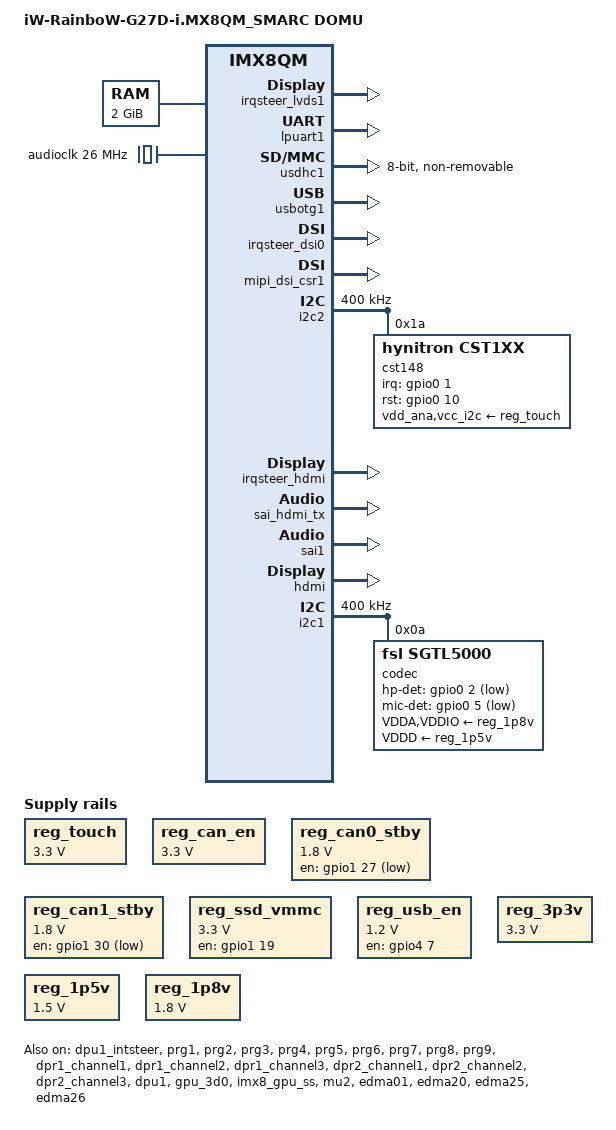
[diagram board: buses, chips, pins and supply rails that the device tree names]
/*
 * Copyright 2018 NXP
 *
 * This program is free software; you can redistribute it and/or
 * modify it under the terms of the GNU General Public License
 * as published by the Free Software Foundation; either version 2
 * of the License, or (at your option) any later version.
 *
 * This program is distributed in the hope that it will be useful,
 * but WITHOUT ANY WARRANTY; without even the implied warranty of
 * MERCHANTABILITY or FITNESS FOR A PARTICULAR PURPOSE.  See the
 * GNU General Public License for more details.
 */

/dts-v1/;
#include <dt-bindings/interrupt-controller/arm-gic.h>
#include <dt-bindings/clock/imx8qm-clock.h>
#include <dt-bindings/input/input.h>
#include <dt-bindings/soc/imx_rsrc.h>
#include <dt-bindings/soc/imx8_hsio.h>
#include <dt-bindings/soc/imx8_pd.h>
#include <dt-bindings/pinctrl/pads-imx8qm.h>
#include <dt-bindings/gpio/gpio.h>
#include <dt-bindings/thermal/thermal.h>

/ {
	model = "iW-RainboW-G27D-i.MX8QM_SMARC DOMU";
	compatible = "fsl,imx8qm-iwg27m", "fsl,imx8qm", "xen,xenvm-4.10", "xen,xenvm";
	interrupt-parent = <&gic>;
	#address-cells = <0x2>;
	#size-cells = <0x2>;

	/delete-node/ aliases;

	aliases {
		mmc0 = &usdhc1;
		dpu0 = &dpu1;
		dpu1 = &dpu2;
		dsi_phy0 = &mipi_dsi_phy1;
		mipi_dsi0 = &mipi_dsi1;
		ldb0 = &ldb1;
		ldb1 = &ldb2;
		serial1 = &lpuart1;
	};

	cpus {
		#address-cells = <0x2>;
		#size-cells = <0x0>;

		cpu@0 {
			device_type = "cpu";
			compatible = "arm,armv8";
			enable-method = "psci";
			reg = <0x0 0x0>;
		};

		cpu@1 {
			device_type = "cpu";
			compatible = "arm,armv8";
			enable-method = "psci";
			reg = <0x0 0x1>;
		};
                cpu@2 {
                        device_type = "cpu";
                        compatible = "arm,armv8";
                        enable-method = "psci";
                        reg = <0x0 0x2>;
                };

                cpu@3 {
                        device_type = "cpu";
                        compatible = "arm,armv8";
                        enable-method = "psci";
                        reg = <0x0 0x3>;
                };
	};
/*
        clocks {
                #address-cells = <1>;
                #size-cells = <0>;
        audioclk: ext26Mz {
                compatible = "fixed-clock";
                clock-frequency = <26000000>;
                reg=<0>;
                #clock-cells = <0>;
                };
        };

        regulators {
                compatible = "simple-bus";
                #address-cells = <1>;
                #size-cells = <0>;

                reg_touch: regulator@0 {
                        compatible = "regulator-fixed";
                        reg = <2>;
                        regulator-name = "touch-en";
                        regulator-min-microvolt = <3300000>;
                        regulator-max-microvolt = <3300000>;
                        regulator-always-on;
                };

                reg_can_en: regulator-can-en {
                        compatible = "regulator-fixed";
                        regulator-name = "can-en";
                        regulator-min-microvolt = <3300000>;
                        regulator-max-microvolt = <3300000>;
                        enable-active-high;
                };

                reg_can0_stby: regulator-can-stby0 {
                        compatible = "regulator-fixed";
                        regulator-name = "can-stby0";
                        regulator-min-microvolt = <1800000>;
                        regulator-max-microvolt = <1800000>;
                        gpio = <&gpio1 27 GPIO_ACTIVE_LOW>;
                };

                reg_can1_stby: regulator-can-stby1 {
                        compatible = "regulator-fixed";
                        regulator-name = "can-stby1";
                        regulator-min-microvolt = <1800000>;
                        regulator-max-microvolt = <1800000>;
                        gpio = <&gpio1 30 GPIO_ACTIVE_LOW>;
                };

                reg_ssd_vmmc: regulator-ssd-vmmc {
                        compatible = "regulator-fixed";
                        regulator-name = "ssd_vmmc";
                        regulator-min-microvolt = <3300000>;
                        regulator-max-microvolt = <3300000>;
                        gpio = <&gpio1 19 GPIO_ACTIVE_HIGH>;
                        enable-active-high;
                };

                reg_usb_en: regulator-usb-en {
                        compatible = "regulator-fixed";
                        regulator-name = "usb_en";
                        regulator-min-microvolt = <1200000>;
                        regulator-max-microvolt = <1200000>;
                        regulator-type = "voltage";
                        gpio = <&gpio4 7 GPIO_ACTIVE_HIGH>;
                        enable-active-high;
                };

                reg_3p3v: 3p3v {
                        compatible = "regulator-fixed";
                        regulator-name = "3P3V";
                        regulator-min-microvolt = <3300000>;
                        regulator-max-microvolt = <3300000>;
                        regulator-always-on;
                        regulator-boot-on;
                };

                reg_1p5v: 1p5v {
                        compatible = "regulator-fixed";
                        regulator-name = "1P5V";
                        regulator-min-microvolt = <1500000>;
                        regulator-max-microvolt = <1500000>;
                        regulator-always-on;
                };

                reg_1p8v: 1p8v {
                        compatible = "regulator-fixed";
                        regulator-name = "1P8V";
                        regulator-min-microvolt = <1800000>;
                        regulator-max-microvolt = <1800000>;
                        regulator-always-on;
                };

	};
*/
	psci {
		compatible = "arm,psci-1.0";
		method = "hvc";
	};

	memory@80000000 {
		device_type = "memory";
		/* Will be updated by U-Boot or XEN TOOL */
		reg = <0x00000000 0x80000000 0 0x80000000>;
	};

	/*
	 * The reserved memory will be used when using U-Boot loading android
	 * image. For booting kernel using xl tool, pass args:
	 * cma=960M@2400M-3584M
	 * For the rpmsg_reserved area, need xl tool to create for non-android.
	 */
	reserved-memory {
		#address-cells = <2>;
		#size-cells = <2>;
		ranges;
		passthrough;

		/*
		 * reserved-memory layout
		 * 0x8800_0000 ~ 0x8FFF_FFFF is reserved for M4
		 * Shouldn't be used at A core and Linux side.
		 *
		 */

		rpmsg_reserved: rpmsg@0x90100000 {
			no-map;
			reg = <0 0x90100000 0 0x10000>;
		};

		/* global autoconfigured region for contiguous allocations */
		linux,cma {
			compatible = "shared-dma-pool";
			reusable;
			size = <0 0x3c000000>;
			alloc-ranges = <0 0x96000000 0 0x3c000000>;
			linux,cma-default;
		};
	};

	gic: interrupt-controller@3001000 {
		compatible = "arm,gic-v3";
		#interrupt-cells = <3>;
		#address-cells = <0x0>;
		interrupt-controller;
		redistributor-stride = <0x20000>;
		#redistributor-regions = <0x1>;
		reg = <0x0 0x3001000 0 0x10000>, /* GIC Dist */
		      <0x0 0x3020000 0 0x1000000>; /* GICR */
		interrupts = <GIC_PPI 9 (GIC_CPU_MASK_SIMPLE(6) | IRQ_TYPE_LEVEL_HIGH)>;
		interrupt-parent = <&gic>;
		linux,phandle = <0xfde8>;
		phandle = <0xfde8>;
	};

	timer {
		compatible = "arm,armv8-timer";
		interrupts = <GIC_PPI 13 (GIC_CPU_MASK_SIMPLE(6) | IRQ_TYPE_LEVEL_LOW)>,
			     <GIC_PPI 14 (GIC_CPU_MASK_SIMPLE(6) | IRQ_TYPE_LEVEL_LOW)>,
			     <GIC_PPI 11 (GIC_CPU_MASK_SIMPLE(6) | IRQ_TYPE_LEVEL_LOW)>;
		interrupt-parent = <&gic>;
		clock-frequency = <8000000>;
	};
/*
        sound {
                compatible = "fsl,imx-audio-sgtl5000";
                model = "sgtl5000-audio";
                ssi-controller = <&sai1>;
                audio-codec = <&codec>;
                audio-routing = "MIC_IN", "Mic Jack",
                                "Mic Jack", "Mic Bias",
                                "Headphone Jack", "HP_OUT",
                                "LINE_IN", "Line In Jack";
        };

        sound-hdmi {
                compatible = "fsl,imx-audio-cdnhdmi";
                model = "imx-audio-hdmi";
                audio-cpu = <&sai_hdmi_tx>;
                constraint-rate = <48000>;
                protocol = <1>;
                status = "disabled";
        };
*/
	hypervisor {
		compatible = "xen,xen-4.11", "xen,xen";
		reg = <0x0 0x38000000 0x0 0x1000000>;
		interrupts = <GIC_PPI 15 (GIC_CPU_MASK_SIMPLE(6) | IRQ_TYPE_LEVEL_LOW)>;
		interrupt-parent = <&gic>;
	};

	passthrough {
		compatible = "simple-bus";
		ranges;
		#address-cells = <2>;
		#size-cells = <2>;

		clocks {
                	#address-cells = <1>;
                	#size-cells = <0>;
		        audioclk: ext26Mz {
                		compatible = "fixed-clock";
        	        	clock-frequency = <26000000>;
		                reg=<0>;
        	        	#clock-cells = <0>;
        	        };
	        };

	        regulators {
	                compatible = "simple-bus";
                	#address-cells = <1>;
        	        #size-cells = <0>;

	                reg_touch: regulator@0 {
                        	compatible = "regulator-fixed";
                	        reg = <2>;
        	                regulator-name = "touch-en";
	                        regulator-min-microvolt = <3300000>;
                        	regulator-max-microvolt = <3300000>;
                	        regulator-always-on;
        	        };

	                reg_can_en: regulator-can-en {
                	        compatible = "regulator-fixed";
        	                regulator-name = "can-en";
	                        regulator-min-microvolt = <3300000>;
                        	regulator-max-microvolt = <3300000>;
                	        enable-active-high;
        	        };

	                reg_can0_stby: regulator-can-stby0 {
                	        compatible = "regulator-fixed";
        	                regulator-name = "can-stby0";
	                        regulator-min-microvolt = <1800000>;
                        	regulator-max-microvolt = <1800000>;
                	        gpio = <&gpio1 27 GPIO_ACTIVE_LOW>;
        	        };

	                reg_can1_stby: regulator-can-stby1 {
                        	compatible = "regulator-fixed";
                	        regulator-name = "can-stby1";
        	                regulator-min-microvolt = <1800000>;
	                        regulator-max-microvolt = <1800000>;
                        	gpio = <&gpio1 30 GPIO_ACTIVE_LOW>;
                	};

        	        reg_ssd_vmmc: regulator-ssd-vmmc {
	                        compatible = "regulator-fixed";
                        	regulator-name = "ssd_vmmc";
                	        regulator-min-microvolt = <3300000>;
        	                regulator-max-microvolt = <3300000>;
	                        gpio = <&gpio1 19 GPIO_ACTIVE_HIGH>;
                        	enable-active-high;
                	};

        	        reg_usb_en: regulator-usb-en {
	                        compatible = "regulator-fixed";
                        	regulator-name = "usb_en";
                	        regulator-min-microvolt = <1200000>;
        	                regulator-max-microvolt = <1200000>;
	                        regulator-type = "voltage";
                        	gpio = <&gpio4 7 GPIO_ACTIVE_HIGH>;
                	        enable-active-high;
        	        };
	                reg_3p3v: 3p3v {
                        	compatible = "regulator-fixed";
                	        regulator-name = "3P3V";
        	                regulator-min-microvolt = <3300000>;
	                        regulator-max-microvolt = <3300000>;
                        	regulator-always-on;
                	        regulator-boot-on;
        	        };

	                reg_1p5v: 1p5v {
                	        compatible = "regulator-fixed";
        	                regulator-name = "1P5V";
	                        regulator-min-microvolt = <1500000>;
                        	regulator-max-microvolt = <1500000>;
                	        regulator-always-on;
        	        };

	                reg_1p8v: 1p8v {
                	        compatible = "regulator-fixed";
        	                regulator-name = "1P8V";
	                        regulator-min-microvolt = <1800000>;
                        	regulator-max-microvolt = <1800000>;
                	        regulator-always-on;
        	        };

	        };


		firmware {
			android {
				compatible = "android,firmware";
				fstab {
					compatible = "android,fstab";
					vendor {
						compatible = "android,vendor";
						/* emmc node which used if androidboot.storage_type=emmc */
						dev_emmc = "/dev/block/platform/passthrough/15b010000.usdhc/by-name/vendor";
						type = "ext4";
						mnt_flags = "ro,barrier=1,inode_readahead_blks=8";
						fsmgr_flags = "wait,slotselect,avb";
					};
				};

				vbmeta {
					/*we need use FirstStageMountVBootV2 if we enable avb*/
					compatible = "android,vbmeta";
					/*parts means the partition witch can be mount in first stage*/
					parts = "vbmeta,boot,system,vendor";
				};
			};
		};

		clk: clk {
			compatible = "fsl,imx8qm-clk";
			#clock-cells = <1>;
			fsl,lpcg_base_offset = <0x00000000 0x00000000>;
		};

		iomuxc: iomuxc {
			compatible = "fsl,imx8qm-iomuxc";
		};

		#include "fsl-imx8qm-device.dtsi"

		mu2: mu@5d1d0000 {
			compatible = "fsl,imx8-mu";
			reg = <0x0 0x5d1d0000 0x0 0x10000>;
			interrupts = <GIC_SPI 178 IRQ_TYPE_LEVEL_HIGH>;
			fsl,scu_ap_mu_id = <0>;
			status = "okay";
		};

		usb_lpcg {
			reg = <0x0 0x5b270000 0x0 0x10000>;
		};

		edma01: dma-controller1@5a2e0000 {
			compatible = "fsl,imx8qm-edma";
			reg = <0x0 0x5a2e0000 0x0 0x10000>, /* channel14 UART1 rx */
			      <0x0 0x5a2f0000 0x0 0x10000>; /* channel15 UART1 tx */
			#dma-cells = <3>;
			dma-channels = <2>;
			interrupts = <GIC_SPI 436 IRQ_TYPE_LEVEL_HIGH>,
				     <GIC_SPI 437 IRQ_TYPE_LEVEL_HIGH>;
			interrupt-names = "edma0-chan14-rx", "edma0-chan15-tx";
			status = "okay";
		};

                edma20: dma-controller@591f0000 {
                        compatible = "fsl,imx8qm-adma";
                        reg = <0x0 0x59200000 0x0 0x10000>, /* asrc0 */
                                <0x0 0x59210000 0x0 0x10000>,
                                <0x0 0x59220000 0x0 0x10000>,
                                <0x0 0x59230000 0x0 0x10000>,
                                <0x0 0x59240000 0x0 0x10000>,
                                <0x0 0x59250000 0x0 0x10000>;
                        #dma-cells = <3>;
                        shared-interrupt;
                        dma-channels = <6>;
                        interrupts = <GIC_SPI 374 IRQ_TYPE_LEVEL_HIGH>, /* asrc0 */
                                        <GIC_SPI 375 IRQ_TYPE_LEVEL_HIGH>,
                                        <GIC_SPI 376 IRQ_TYPE_LEVEL_HIGH>,
                                        <GIC_SPI 377 IRQ_TYPE_LEVEL_HIGH>,
                                        <GIC_SPI 378 IRQ_TYPE_LEVEL_HIGH>,
                                        <GIC_SPI 379 IRQ_TYPE_LEVEL_HIGH>;
                        interrupt-names = "edma2-chan0-rx", "edma2-chan1-rx", /* asrc0 */
                                        "edma2-chan2-rx", "edma2-chan3-tx",
                                        "edma2-chan4-tx", "edma2-chan5-tx";
                        status = "okay";
                };

                edma25: dma-controller@0x592e0000 {
                        compatible = "fsl,imx8qm-adma";
                        reg = <0x0 0x592e0000 0x0 0x10000>, /* sai1 rx */
                        <0x0 0x592f0000 0x0 0x10000>; /* sai1 tx */
                        #dma-cells = <3>;
                        shared-interrupt;
                        dma-channels = <2>;
                        interrupts = <GIC_SPI 317 IRQ_TYPE_LEVEL_HIGH>, /* sai1 */
                                     <GIC_SPI 317 IRQ_TYPE_LEVEL_HIGH>;
                        interrupt-names = "edma2-chan14-rx", "edma2-chan15-tx"; /* sai1 */
                        fsl,sc_rsrc_id = <SC_R_DMA_2_CH14>,
                                         <SC_R_DMA_2_CH15>;
                        status = "okay";
                };

	        edma26: dma-controller@0x59320000 {
                	compatible = "fsl,imx8qm-adma";
        	        reg = <0x0 0x59320000 0x0 0x10000>, /* sai4 rx */
	                      <0x0 0x59330000 0x0 0x10000>; /* sai5 tx */
                	#dma-cells = <3>;
        	        shared-interrupt;
	                dma-channels = <2>;
                	interrupts = <GIC_SPI 326 IRQ_TYPE_LEVEL_HIGH>, /* sai4 */
        	                     <GIC_SPI 328 IRQ_TYPE_LEVEL_HIGH>; /* sai5 */
	                interrupt-names = "edma2-chan18-rx", "edma2-chan19-tx"; /* sai1 */
                	fsl,sc_rsrc_id = <SC_R_DMA_2_CH18>,
                        	         <SC_R_DMA_2_CH19>;
        	        status = "okay";
	        };

		sound {
        	        compatible = "fsl,imx-audio-sgtl5000";
	                model = "sgtl5000-audio";
                	ssi-controller = <&sai1>;
        	        audio-codec = <&codec>;
	                audio-routing = "MIC_IN", "Mic Jack",
                        	        "Mic Jack", "Mic Bias",
                	                "Headphone Jack", "HP_OUT",
        	                        "LINE_IN", "Line In Jack";
	        };

        	sound-hdmi {
	                compatible = "fsl,imx-audio-cdnhdmi";
                	model = "imx-audio-hdmi";
        	        audio-cpu = <&sai_hdmi_tx>;
	                constraint-rate = <48000>;
                	protocol = <1>;
        	        status = "disabled";
	        };


	};
};

/delete-node/ &tsens;
/delete-node/ &thermal_zones;
/delete-node/ &rtc;

&display {
	ports = <&dpu1_disp0>, <&dpu1_disp1>;
};

&dpu1_intsteer {
        reg = <0x0 0x56000000 0x0 0x10000>;
        status = "okay";
};

&prg1 {
        reg = <0x0 0x56040000 0x0 0x10000>;
        status = "okay";
};

&prg2 {
        reg = <0x0 0x56050000 0x0 0x10000>;
        status = "okay";
};

&prg3 {
        reg = <0x0 0x56060000 0x0 0x10000>;
        status = "okay";
};

&prg4 {
        reg = <0x0 0x56070000 0x0 0x10000>;
        status = "okay";
};

&prg5 {
        reg = <0x0 0x56080000 0x0 0x10000>;
        status = "okay";
};

&prg6 {
        reg = <0x0 0x56090000 0x0 0x10000>;
        status = "okay";
};

&prg7 {
        reg = <0x0 0x560a0000 0x0 0x10000>;
        status = "okay";
};

&prg8 {
        reg = <0x0 0x560b0000 0x0 0x10000>;
        status = "okay";
};

&prg9 {
        reg = <0x0 0x560c0000 0x0 0x10000>;
        status = "okay";
};

&dpr1_channel1 {
        reg = <0x0 0x560d0000 0x0 0x10000>;
        status = "okay";
};

&dpr1_channel2 {
        reg = <0x0 0x560e0000 0x0 0x10000>;
        status = "okay";
};

&dpr1_channel3 {
        reg = <0x0 0x560f0000 0x0 0x10000>;
        status = "okay";
};

&dpr2_channel1 {
        reg = <0x0 0x56100000 0x0 0x10000>;
        status = "okay";
};

&dpr2_channel2 {
        reg = <0x0 0x56110000 0x0 0x10000>;
        status = "okay";
};

&dpr2_channel3 {
        reg = <0x0 0x56120000 0x0 0x10000>;
        status = "okay";
};

&dpu1 {
        reg = <0x0 0x56180000 0x0 0x40000>;
        status = "okay";

        dpu1_disp0: port@0 {
		reg = <0>;

		dpu1_disp0_hdmi: hdmi-endpoint {
			remote-endpoint = <&hdmi_disp>;
		};

		dpu1_disp0_mipi_dsi: mipi-dsi-endpoint {
			remote-endpoint = <&mipi_dsi1_in>;
		};
        };
        dpu1_disp1: port@1 {
                reg = <1>;

                dpu1_disp1_lvds0: lvds0-endpoint {
                        remote-endpoint = <&ldb1_lvds0>;
                };

                dpu1_disp1_lvds1: lvds1-endpoint {
                        remote-endpoint = <&ldb1_lvds1>;
                };
        };
};

&dpu2_intsteer {
	reg = <0x0 0x57000000 0x0 0x10000>;
	status = "disabled";
};

&prg10 {
	reg = <0x0 0x57040000 0x0 0x10000>;
	status = "disabled";
};

&prg11 {
	reg = <0x0 0x57050000 0x0 0x10000>;
	status = "disabled";
};

&prg12 {
	reg = <0x0 0x57060000 0x0 0x10000>;
	status = "disabled";
};

&prg13 {
	reg = <0x0 0x57070000 0x0 0x10000>;
	status = "disabled";
};

&prg14 {
	reg = <0x0 0x57080000 0x0 0x10000>;
	status = "disabled";
};

&prg15 {
	reg = <0x0 0x57090000 0x0 0x10000>;
	status = "disabled";
};

&prg16 {
	reg = <0x0 0x570a0000 0x0 0x10000>;
	status = "disabled";
};

&prg17 {
	reg = <0x0 0x570b0000 0x0 0x10000>;
	status = "disabled";
};

&prg18 {
	reg = <0x0 0x570c0000 0x0 0x10000>;
	status = "disabled";
};

&dpr3_channel1 {
	reg = <0x0 0x570d0000 0x0 0x10000>;
	status = "disabled";
};

&dpr3_channel2 {
	reg = <0x0 0x570e0000 0x0 0x10000>;
	status = "disabled";
};

&dpr3_channel3 {
	reg = <0x0 0x570f0000 0x0 0x10000>;
	status = "disabled";
};

&dpr4_channel1 {
	reg = <0x0 0x57100000 0x0 0x10000>;
	status = "disabled";
};

&dpr4_channel2 {
	reg = <0x0 0x57110000 0x0 0x10000>;
	status = "disabled";
};

&dpr4_channel3 {
	reg = <0x0 0x57120000 0x0 0x10000>;
	status = "disabled";
};

&dpu2 {
	reg = <0x0 0x57180000 0x0 0x40000>;
	status = "disabled";

	dpu2_disp0: port@0 {
		dpu2_disp0_mipi_dsi: mipi-dsi-endpoint {
			/delete-property/ remote-endpoint;
		};
	};
	dpu2_disp1: port@1 {
		reg = <1>;

		dpu2_disp1_lvds0: lvds0-endpoint {
			remote-endpoint = <&ldb2_lvds0>;
		};

		dpu2_disp1_lvds1: lvds1-endpoint {
			remote-endpoint = <&ldb2_lvds1>;
		};
	};
};

/*
/delete-node/ &irqsteer_dsi0;
/delete-node/ &i2c0_mipi_dsi0;
*/

&lvds_region1 {
        reg = <0x0 0x56240000 0x0 0x10000>;
        status = "disabled";
};

&ldb1_phy {
        reg = <0x0 0x56241000 0x0 0x100>;
        status = "disabled";
};

&ldb1 {
        status = "disabled";

        lvds-channel@0 {
                fsl,data-mapping = "jeida";
                fsl,data-width = <24>;
                status = "okay";

                port@1 {
                        reg = <1>;

                        lvds1_out: endpoint {
                                remote-endpoint = <&it6263_1_in>;
                        };
                };
        };
};

&lvds_region2 {
	reg = <0x0 0x57240000 0x0 0x10000>;
	status = "disabled";
};

&ldb2_phy {
	reg = <0x0 0x57241000 0x0 0x100>;
	status = "disabled";
};

&ldb2 {
	status = "disabled";

	lvds-channel@0 {
		fsl,data-mapping = "jeida";
		fsl,data-width = <24>;
		status = "okay";

		port@1 {
			reg = <1>;

			lvds2_out: endpoint {
				remote-endpoint = <&it6263_1_in>;
			};
		};
	};
};

/*
/delete-node/ &lvds0_pwm;
/delete-node/ &dpu1_intsteer;
/delete-node/ &prg1;
/delete-node/ &prg2;
/delete-node/ &prg3;
/delete-node/ &prg4;
/delete-node/ &prg5;
/delete-node/ &prg6;
/delete-node/ &prg7;
/delete-node/ &prg8;
/delete-node/ &prg9;
/delete-node/ &dpr1_channel1;
/delete-node/ &dpr1_channel2;
/delete-node/ &dpr1_channel3;
/delete-node/ &dpr2_channel1;
/delete-node/ &dpr2_channel2;
/delete-node/ &dpr2_channel3;
/delete-node/ &dpu1;
*/

/delete-node/ &irqsteer_dsi1;
/delete-node/ &i2c0_mipi_dsi1;
/delete-node/ &mipi_dsi_csr2;
/delete-node/ &mipi_dsi_phy2;
/delete-node/ &mipi_dsi2;
/delete-node/ &mipi_dsi_bridge2;
/* /delete-node/ &lvds_region1;
/delete-node/ &lvds1_pwm;
*/

/delete-node/ &camera;
/delete-node/ &i2c0;
/delete-node/ &i2c3;
/delete-node/ &i2c4;
/delete-node/ &i2c0_cm40;
/delete-node/ &i2c0_cm41;
/delete-node/ &i2c0_hdmi;

&irqsteer_lvds1 {
	reg = <0x0 0x57240000 0x0 0x1000>;
	/delete-property/ interrupt-parent;
	status = "okay";
};

/delete-node/ &flexcan1;
/delete-node/ &flexcan2;
/delete-node/ &flexcan3;

&i2c1_lvds1 {
	reg = <0x0 0x57247000 0x0 0x1000>;
	status = "disabled";
};

/delete-node/ &irqsteer_lvds0;
/delete-node/ &i2c1_lvds0;
/delete-node/ &irqsteer_csi0;
/delete-node/ &i2c0_mipi_csi0;
/delete-node/ &irqsteer_csi1;
/delete-node/ &i2c0_mipi_csi1;
/delete-node/ &lpspi0;
/delete-node/ &lpuart0;

&lpuart1 {
	/delete-property/ interrupt-parent;
	reg = <0x0 0x5a070000 0 0x1000>;
	dmas = <&edma01 15 0 0>, <&edma01 14 0 1>;
	pinctrl-names = "default";
	pinctrl-0 = <&pinctrl_lpuart1>;
	status = "okay";
};

/delete-node/ &lpuart2;
/delete-node/ &lpuart3;
/delete-node/ &lpuart4;
/delete-node/ &edma0;
/delete-node/ &edma2;
/delete-node/ &edma3;

&gpio0 {
	/delete-property/ power-domains;
	status = "okay";
};
&gpio1 {
	/delete-property/ power-domains;
	status = "okay";
};
&gpio2 {
	/delete-property/ power-domains;
	status = "disabled";
};
&gpio3 {
	/delete-property/ power-domains;
	status = "disabled";
};
&gpio4 {
	/delete-property/ power-domains;
	status = "okay";
};
&gpio5 {
	/delete-property/ power-domains;
	status = "disabled";
};
&gpio6 {
	/delete-property/ power-domains;
	status = "disabled";
};
&gpio7 {
	/delete-property/ power-domains;
	status = "disabled";
};

/delete-node/ &gpio0_mipi_csi0;
/delete-node/ &gpio0_mipi_csi1;
/delete-node/ &gpt0;
/delete-node/ &pwm0;
/delete-node/ &pwm1;
/delete-node/ &pwm2;
/delete-node/ &pwm3;
/delete-node/ &pwm4;
/delete-node/ &pwm5;
/delete-node/ &pwm6;
/delete-node/ &pwm7;

&gpu_3d0 {
	reg = <0x0 0x53100000 0 0x40000>;
	status = "okay";
};

/delete-node/ &gpu_3d1;

&imx8_gpu_ss {
	/* xen guests have 2GB of low RAM @ 2GB */
	reg = <0x0 0x80000000 0x0 0x80000000>;
	reg-names = "phys_baseaddr";
	cores = <&gpu_3d0>;
	status = "okay";
};

/delete-node/ &mlb;

&usdhc1 {
	compatible = "fsl,imx8qm-usdhc", "fsl,imx6sl-usdhc";
	/*interrupt-parent = <&gic>;*/
	/delete-property/ interrupt-parent;
	reg = <0x0 0x5b010000 0x0 0x10000>;
};

/delete-node/ &usdhc2;
/delete-node/ &usdhc3;
/delete-node/ &fec1;
/delete-node/ &fec2;

&usbmisc1 {
	reg = <0x0 0x5b0d0200 0x0 0x200>;
};

/delete-node/ &usbmisc2;

&usbphy1 {
	reg = <0x0 0x5b100000 0x0 0x200>;
};

/delete-node/ &usbh1;
/delete-node/ &usbotg3;
/delete-node/ &usbphynop1;
/delete-node/ &usbphynop2;

&usbotg1 {
	reg = <0x0 0x5b0d0000 0x0 0x200>;
	/delete-property/ interrupt-parent;
};

/delete-node/ &ddr_pmu0;
/delete-node/ &ddr_pmu1;
/delete-node/ &vpu;
/delete-node/ &acm;
/delete-node/ &esai0;
/delete-node/ &spdif0;
/delete-node/ &sai0;
/delete-node/ &sai_hdmi_rx;
/delete-node/ &sai6;
/delete-node/ &sai7;
/delete-node/ &amix;
/delete-node/ &asrc0;
/delete-node/ &asrc1;
/delete-node/ &mqs;
/delete-node/ &flexspi0;

&dma_cap {
	compatible = "dma-capability";
	only-dma-mask32 = <1>;
};

/delete-node/ &hsio;
/delete-node/ &ocotp;
/delete-node/ &pciea;
/delete-node/ &pcieb;
/delete-node/ &sata;
/*
/delete-node/ &intmux_cm40;
/delete-node/ &intmux_cm41;
*/
&rpmsg1{
	/*
	 * 64K for one rpmsg instance:
	 */
	vdev-nums = <1>;
	reg = <0x0 0x90100000 0x0 0x10000>;
	status = "disabled";
};

&mu_rpmsg1 {
	reg = <0x0 0x5d210000 0x0 0x10000>;
};

/delete-node/ &crypto;
/delete-node/ &caam_sm;
/delete-node/ &sc_pwrkey;
/delete-node/ &wdog;
/delete-node/ &wu;

&iomuxc {
	imx8qm-iwg27m {
		pinctrl_usdhc1: usdhc1grp {
			fsl,pins = <
				SC_P_EMMC0_CLK_CONN_EMMC0_CLK		0x06000041
				SC_P_EMMC0_CMD_CONN_EMMC0_CMD		0x00000021
				SC_P_EMMC0_DATA0_CONN_EMMC0_DATA0	0x00000021
				SC_P_EMMC0_DATA1_CONN_EMMC0_DATA1	0x00000021
				SC_P_EMMC0_DATA2_CONN_EMMC0_DATA2	0x00000021
				SC_P_EMMC0_DATA3_CONN_EMMC0_DATA3	0x00000021
				SC_P_EMMC0_DATA4_CONN_EMMC0_DATA4	0x00000021
				SC_P_EMMC0_DATA5_CONN_EMMC0_DATA5	0x00000021
				SC_P_EMMC0_DATA6_CONN_EMMC0_DATA6	0x00000021
				SC_P_EMMC0_DATA7_CONN_EMMC0_DATA7	0x00000021
				SC_P_EMMC0_STROBE_CONN_EMMC0_STROBE	0x06000041
				SC_P_EMMC0_RESET_B_CONN_EMMC0_RESET_B	0x00000021
			>;
		};

		pinctrl_usdhc1_100mhz: usdhc1grp100mhz {
			fsl,pins = <
				SC_P_EMMC0_CLK_CONN_EMMC0_CLK		0x06000040
				SC_P_EMMC0_CMD_CONN_EMMC0_CMD		0x00000020
				SC_P_EMMC0_DATA0_CONN_EMMC0_DATA0	0x00000020
				SC_P_EMMC0_DATA1_CONN_EMMC0_DATA1	0x00000020
				SC_P_EMMC0_DATA2_CONN_EMMC0_DATA2	0x00000020
				SC_P_EMMC0_DATA3_CONN_EMMC0_DATA3	0x00000020
				SC_P_EMMC0_DATA4_CONN_EMMC0_DATA4	0x00000020
				SC_P_EMMC0_DATA5_CONN_EMMC0_DATA5	0x00000020
				SC_P_EMMC0_DATA6_CONN_EMMC0_DATA6	0x00000020
				SC_P_EMMC0_DATA7_CONN_EMMC0_DATA7	0x00000020
				SC_P_EMMC0_STROBE_CONN_EMMC0_STROBE	0x06000040
				SC_P_EMMC0_RESET_B_CONN_EMMC0_RESET_B	0x00000020
			>;
		};

		pinctrl_usdhc1_200mhz: usdhc1grp200mhz {
			fsl,pins = <
				SC_P_EMMC0_CLK_CONN_EMMC0_CLK		0x06000040
				SC_P_EMMC0_CMD_CONN_EMMC0_CMD		0x00000020
				SC_P_EMMC0_DATA0_CONN_EMMC0_DATA0	0x00000020
				SC_P_EMMC0_DATA1_CONN_EMMC0_DATA1	0x00000020
				SC_P_EMMC0_DATA2_CONN_EMMC0_DATA2	0x00000020
				SC_P_EMMC0_DATA3_CONN_EMMC0_DATA3	0x00000020
				SC_P_EMMC0_DATA4_CONN_EMMC0_DATA4	0x00000020
				SC_P_EMMC0_DATA5_CONN_EMMC0_DATA5	0x00000020
				SC_P_EMMC0_DATA6_CONN_EMMC0_DATA6	0x00000020
				SC_P_EMMC0_DATA7_CONN_EMMC0_DATA7	0x00000020
				SC_P_EMMC0_STROBE_CONN_EMMC0_STROBE	0x06000040
				SC_P_EMMC0_RESET_B_CONN_EMMC0_RESET_B	0x00000020
			>;
		};

		pinctrl_usbotg1: usbotg1 {
			fsl,pins = <
				SC_P_USB_SS3_TC0_CONN_USB_OTG1_PWR		0x00000021
			>;
		};

		pinctrl_lvds1_lpi2c1: lvds1lpi2c1grp {
			fsl,pins = <
				SC_P_LVDS1_I2C1_SCL_LVDS1_I2C1_SCL	0xc600004c
				SC_P_LVDS1_I2C1_SDA_LVDS1_I2C1_SDA	0xc600004c
			>;
		};

                pinctrl_lpi2c2: lpi2c2grp {
                        fsl,pins = <
                                SC_P_GPT1_CLK_DMA_I2C2_SCL                      0xc600004c
                                SC_P_GPT1_CAPTURE_DMA_I2C2_SDA                  0xc600004c
                        >;
                };

		pinctrl_lpuart1: lpuart1grp {
			fsl,pins = <
				SC_P_UART1_RX_DMA_UART1_RX		0x06000020
				SC_P_UART1_TX_DMA_UART1_TX		0x06000020
				SC_P_UART1_CTS_B_DMA_UART1_CTS_B	0x06000020
				SC_P_UART1_RTS_B_DMA_UART1_RTS_B	0x06000020
				SC_P_QSPI1A_DQS_LSIO_GPIO4_IO22		0x00000021
			>;
		};

                pinctrl_mipi_dsi: mipidsi {
                        fsl,pins = <
                                SC_P_SIM0_PD_LSIO_GPIO0_IO03                    0x00000021
                        >;
                };

                pinctrl_ts_active_iwg27m: touch {
                        fsl,pins = <
                                SC_P_SIM0_RST_LSIO_GPIO0_IO01                   0x00000021
                                SC_P_M41_I2C0_SCL_LSIO_GPIO0_IO10               0x18300021
                        >;
                };

		/* HDMI display */
                pinctrl_sai1: sai1grp {
                        fsl,pins = <
                                SC_P_SAI1_RXD_AUD_SAI1_RXD                      0xc600004c
                                SC_P_SAI1_TXC_AUD_SAI1_TXC                      0xc600004c
                                SC_P_SAI1_TXD_AUD_SAI1_TXD                      0xc600004c
                                SC_P_SAI1_TXFS_AUD_SAI1_TXFS                    0xc600004c
                                SC_P_MCLK_OUT0_AUD_ACM_MCLK_OUT0                0xc600004c
                        >;
                };

                pinctrl_hp_mic_detect: hp_mic_detect {
                        fsl,pins = <
                                SC_P_SIM0_IO_LSIO_GPIO0_IO02                    0x00000021
                                SC_P_SIM0_GPIO0_00_LSIO_GPIO0_IO05              0x00000021
                        >;
                };

                pinctrl_lpi2c1: lpi2c1grp {
                        fsl,pins = <
                                SC_P_GPT0_CLK_DMA_I2C1_SCL                      0xc600004c
                                SC_P_GPT0_CAPTURE_DMA_I2C1_SDA                  0xc600004c
                        >;
                };

	};
};

&usdhc1 {
	/delete-property/ iommus;
	pinctrl-names = "default", "state_100mhz", "state_200mhz";
	pinctrl-0 = <&pinctrl_usdhc1>;
	pinctrl-1 = <&pinctrl_usdhc1_100mhz>;
	pinctrl-2 = <&pinctrl_usdhc1_200mhz>;
	bus-width = <8>;
	non-removable;
	status = "okay";
};

&usbotg1 {
	pinctrl-names = "default";
	pinctrl-0 = <&pinctrl_usbotg1>;
	srp-disable;
	hnp-disable;
	adp-disable;
	power-polarity-active-high;
	disable-over-current;
	status = "okay";
};

&i2c1_lvds1 {
	#address-cells = <1>;
	#size-cells = <0>;
	pinctrl-names = "default";
	pinctrl-0 = <&pinctrl_lvds1_lpi2c1>;
	clock-frequency = <100000>;
	status = "disabled";

	lvds-to-hdmi-bridge@4c {
		compatible = "ite,it6263";
		reg = <0x4c>;

		port {
			it6263_1_in: endpoint {
				clock-lanes = <3>;
				data-lanes = <0 1 2 4>;
				remote-endpoint = <&lvds1_out>;
			};
		};
	};
};

&irqsteer_dsi0 {
	status = "okay";
};

/* LCD display */

&mipi_dsi_csr1 {
	status = "okay";
};

&mipi_dsi_phy1 {
        status = "disabled";
};

&mipi_dsi1 {
	status = "disabled";
};

&mipi_dsi_bridge1 {
        status = "disabled";

        panel@0 {
                reg = <0>;
		compatible = "raydium,rm67198";
                pinctrl-0 = <&pinctrl_mipi_dsi>;
                reset-gpio = <&gpio0 3 GPIO_ACTIVE_LOW>;
                dsi-lanes = <4>;
                panel-width-mm = <68>;
                panel-height-mm = <121>;
                port {
                        panel1_in: endpoint {
                                remote-endpoint = <&mipi_bridge1_out>;
                        };
                };
        };

        port@1 {
                mipi_bridge1_out: endpoint {
                        remote-endpoint = <&panel1_in>;
                };
        };
};

&i2c2 {
        #address-cells = <1>;
        #size-cells = <0>;
        pinctrl-names = "default";
        pinctrl-0 = <&pinctrl_lpi2c2>;
        clock-frequency = <400000>;
        status = "okay";

        cst148@1a {
                compatible = "hynitron,cst1xx";
                reg = <0x1a>;
                interrupt-parent = <&gpio0>;
                interrupts = <1 2>;
                vdd_ana-supply = <&reg_touch>;
                vcc_i2c-supply = <&reg_touch>;
                hynitron,panel-coords = <0 1080 0 1920>;
                hynitron,display-coords = <0 1080 0 1920>;
                pinctrl-names = "default";
                pinctrl-0 = <&pinctrl_ts_active_iwg27m>;
                hynitron,irq-gpio = <&gpio0 1 0>;
                hynitron,rst-gpio = <&gpio0 10 0>;
                report_type = <1>;
        };
/*
        goodix@5d {
                compatible = "goodix,gt1x";
                reg = <0x5d>;
                interrupt-parent = <&gpio0>;
                interrupts = <1 2>;
                vdd_ana-supply = <&reg_touch>;
                vcc_i2c-supply = <&reg_touch>;
                pinctrl-names = "ts_active";
                pinctrl-0 = <&pinctrl_ts_active_iwg27m>;
                goodix,irq-gpio = <&gpio0 1 GPIO_ACTIVE_LOW>;
        };
*/
};

/* HDMI display */

&irqsteer_hdmi {
	status = "okay";
};

&sai_hdmi_tx {
        assigned-clocks = <&clk IMX8QM_ACM_HDMI_TX_SAI0_MCLK_SEL>,
                          <&clk IMX8QM_AUD_PLL1_DIV>,
                          <&clk IMX8QM_AUD_ACM_AUD_PLL_CLK1_DIV>,
                          <&clk IMX8QM_AUD_ACM_AUD_REC_CLK1_DIV>,
                          <&clk IMX8QM_AUD_SAI_HDMITX0_MCLK>;
        assigned-clock-parents = <&clk IMX8QM_AUD_ACM_AUD_PLL_CLK1_CLK>;
        assigned-clock-rates = <0>, <768000000>, <768000000>, <768000000>, <768000000>;
        fsl,sai-asynchronous;
	dmas = <&edma26 19 0 0>;
        status = "okay";
};

&sai1 {
        pinctrl-names = "default";
        pinctrl-0 = <&pinctrl_sai1>;
        assigned-clocks = <&clk IMX8QM_ACM_ESAI0_MCLK_SEL>,
                          <&clk IMX8QM_AUD_PLL0_DIV>,
                          <&clk IMX8QM_AUD_ACM_AUD_PLL_CLK0_DIV>,
                          <&clk IMX8QM_AUD_ACM_AUD_REC_CLK0_DIV>,
                          <&clk IMX8QM_AUD_ESAI_0_EXTAL_IPG>;
        assigned-clock-parents = <&clk IMX8QM_AUD_ACM_AUD_PLL_CLK0_CLK>;
        assigned-clock-rates = <0>, <786432000>, <49152000>, <24576000>, <49152000>;
	dmas = <&edma25 14 0 1>, <&edma25 15 0 0>;
        status = "okay";
};

&hdmi {
        pinctrl-names = "default";
        compatible = "fsl,imx8qm-hdmi";
	dmas = <&edma26 18 0 1>;
        status = "okay";
};

&i2c1 {
        #address-cells = <1>;
        #size-cells = <0>;
        pinctrl-names = "default";
        pinctrl-0 = <&pinctrl_lpi2c1>;
        clock-frequency = <400000>;
        status = "okay";

        codec: sgtl5000@0a {
                compatible = "fsl,sgtl5000";
                reg = <0x0a>;
                pinctrl-names = "default";
                pinctrl-0 = <&pinctrl_hp_mic_detect>;
                clocks = <&audioclk 0>;
                VDDA-supply = <&reg_1p8v>;
                VDDIO-supply = <&reg_1p8v>;
                VDDD-supply = <&reg_1p5v>;
                power-domains = <&pd_mclk_out0>;
                hp-det-gpios = <&gpio0 2 GPIO_ACTIVE_LOW>;
                mic-det-gpios = <&gpio0 5 GPIO_ACTIVE_LOW>;
                status = "okay";
        };
/*
        fusb30x@22 {
                compatible = "fairchild,fusb302";
                reg = <0x22>;
                fairchild,int_n = <&gpio0 0 0>;
                pinctrl-names = "default";
                pinctrl-0 = <&pinctrl_type_c>;
                fairchild,cc = <&gpio5 23 0>;
                status = "okay";
        };*/
};

